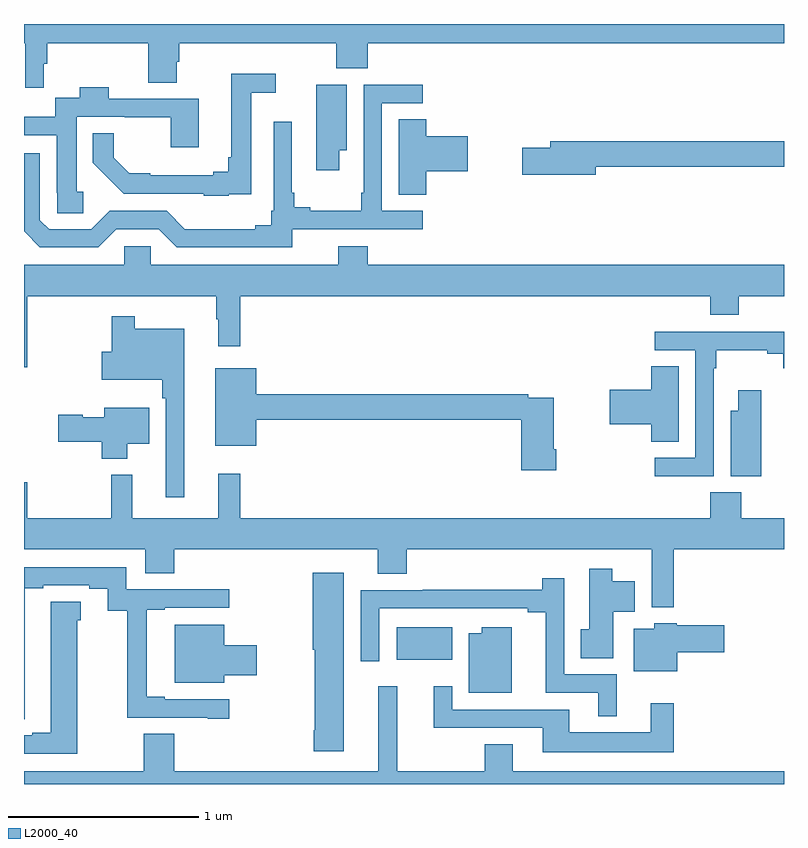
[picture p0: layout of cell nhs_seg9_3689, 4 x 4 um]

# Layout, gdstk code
import gdstk
lib = gdstk.Library(unit=1e-6, precision=1e-09)
def R(c, l, rs):  # rectangles x0, y0, x1, y1
    for r in rs: c.add(gdstk.rectangle(r[:2], r[2:], *l))
def P(c, l, *ps):  # polygons
    for p in ps: c.add(gdstk.Polygon(p, *l))
L2000_40 = (2000, 40)

nhs_seg9_3689 = lib.new_cell('nhs_seg9_3689')
R(nhs_seg9_3689, L2000_40, [(322.961,1213.154,323.254,1213.324)])
P(nhs_seg9_3689, L2000_40, [(321,1216.4),(321.006,1216.4),(321.006,1216.164),(321.103,1216.164),(321.103,1216.29),(321.122,1216.29),(321.122,1216.4),(321.653,1216.4),(321.653,1216.192),(321.805,1216.192),(321.805,1216.302),(321.818,1216.302),(321.818,1216.4),(322.643,1216.4),(322.643,1216.266),(322.808,1216.266),(322.808,1216.4),(325,1216.4),(325,1216.5),(321,1216.5)],
  [(322.077,1215.605),(322.195,1215.605),(322.195,1216.139),(322.324,1216.139),(322.324,1216.237),(322.091,1216.237),(322.091,1215.799),(322.074,1215.799),(322.074,1215.722),(321.995,1215.722),(321.995,1215.703),(321.664,1215.703),(321.664,1215.714),(321.555,1215.714),(321.472,1215.797),(321.472,1215.926),(321.362,1215.926),(321.362,1215.769),(321.446,1215.686),(321.445,1215.685),(321.524,1215.606),(321.945,1215.606),(321.945,1215.596),(322.077,1215.596)],
  [(322.66,1215.836),(322.699,1215.836),(322.699,1216.18),(322.538,1216.18),(322.538,1215.729),(322.66,1215.729)],
  [(321.486,1215.42),(321.708,1215.42),(321.804,1215.324),(322.413,1215.324),(322.413,1215.42),(323.098,1215.42),(323.098,1215.516),(322.884,1215.516),(322.884,1216.083),(323.098,1216.083),(323.098,1216.179),(322.788,1216.179),(322.788,1215.613),(322.776,1215.613),(322.776,1215.518),(322.507,1215.518),(322.507,1215.536),(322.423,1215.536),(322.423,1215.613),(322.41,1215.613),(322.41,1215.985),(322.314,1215.985),(322.314,1215.517),(322.302,1215.517),(322.302,1215.44),(322.217,1215.44),(322.217,1215.421),(321.845,1215.421),(321.75,1215.516),(321.45,1215.516),(321.354,1215.42),(321.132,1215.42),(321.084,1215.468),(321.084,1215.819),(321,1215.819),(321,1215.409),(321.084,1215.324),(321.39,1215.324)],
  [(321.312,1215.616),(321.277,1215.616),(321.277,1216.011),(321.529,1216.011),(321.529,1216.01),(321.772,1216.01),(321.772,1215.852),(321.919,1215.852),(321.919,1216.107),(321.446,1216.107),(321.446,1216.168),(321.293,1216.168),(321.293,1216.111),(321.164,1216.111),(321.164,1216.012),(321,1216.012),(321,1215.915),(321.173,1215.915),(321.173,1215.613),(321.174,1215.613),(321.174,1215.505),(321.312,1215.505)],
  [(323.117,1215.725),(323.335,1215.725),(323.335,1215.908),(323.117,1215.908),(323.117,1215.998),(322.973,1215.998),(322.973,1215.601),(323.117,1215.601)],
  [(324.01,1215.748),(325,1215.748),(325,1215.884),(323.771,1215.884),(323.771,1215.848),(323.622,1215.848),(323.622,1215.706),(324.01,1215.706)],
  [(321.016,1215.068),(322.011,1215.068),(322.011,1214.945),(322.022,1214.945),(322.022,1214.805),(322.139,1214.805),(322.139,1215.068),(324.611,1215.068),(324.611,1214.969),(324.763,1214.969),(324.763,1215.068),(325,1215.068),(325,1215.232),(322.808,1215.232),(322.808,1215.331),(322.655,1215.331),(322.655,1215.232),(321.666,1215.232),(321.666,1215.33),(321.528,1215.33),(321.528,1215.232),(321,1215.232),(321,1214.694),(321.016,1214.694)],
  [(321.844,1214.896),(321.583,1214.896),(321.583,1214.962),(321.462,1214.962),(321.462,1214.775),(321.41,1214.775),(321.41,1214.627),(321.727,1214.627),(321.727,1214.531),(321.747,1214.531),(321.747,1214.01),(321.844,1214.01)],
  [(324.63,1214.687),(324.643,1214.687),(324.643,1214.783),(324.911,1214.783),(324.911,1214.764),(324.996,1214.764),(324.996,1214.687),(325,1214.687),(325,1214.88),(324.321,1214.88),(324.321,1214.784),(324.534,1214.784),(324.534,1214.217),(324.321,1214.217),(324.321,1214.121),(324.63,1214.121)],
  [(324.445,1214.699),(324.302,1214.699),(324.302,1214.576),(324.084,1214.576),(324.084,1214.393),(324.302,1214.393),(324.302,1214.302),(324.445,1214.302)],
  [(323.801,1214.263),(323.788,1214.263),(323.788,1214.532),(323.654,1214.532),(323.654,1214.552),(322.222,1214.552),(322.222,1214.689),(322.007,1214.689),(322.007,1214.279),(322.222,1214.279),(322.222,1214.416),(323.618,1214.416),(323.618,1214.151),(323.801,1214.151)],
  [(324.88,1214.572),(324.758,1214.572),(324.758,1214.464),(324.719,1214.464),(324.719,1214.121),(324.88,1214.121)],
  [(321.544,1214.291),(321.658,1214.291),(321.658,1214.479),(321.422,1214.479),(321.422,1214.431),(321.309,1214.431),(321.309,1214.444),(321.18,1214.444),(321.18,1214.302),(321.41,1214.302),(321.41,1214.213),(321.544,1214.213)],
  [(322.022,1214.134),(322.022,1213.9),(321.569,1213.9),(321.569,1214.128),(321.459,1214.128),(321.459,1213.9),(321.016,1213.9),(321.016,1214.089),(321,1214.089),(321,1213.736),(321.638,1213.736),(321.638,1213.609),(321.791,1213.609),(321.791,1213.736),(322.862,1213.736),(322.862,1213.606),(323.015,1213.606),(323.015,1213.736),(324.303,1213.736),(324.303,1213.43),(324.419,1213.43),(324.419,1213.736),(325,1213.736),(325,1213.9),(324.776,1213.9),(324.776,1214.035),(324.611,1214.035),(324.611,1213.9),(322.139,1213.9),(322.139,1214.134)],
  [(321.003,1212.949),(321.004,1212.949),(321.004,1213.53),(321.1,1213.53),(321.1,1213.545),(321.344,1213.545),(321.344,1213.527),(321.44,1213.527),(321.44,1213.412),(321.544,1213.412),(321.544,1212.849),(321.968,1212.849),(321.968,1212.844),(322.081,1212.844),(322.081,1212.945),(321.742,1212.945),(321.742,1212.958),(321.646,1212.958),(321.646,1213.416),(321.742,1213.416),(321.742,1213.428),(322.081,1213.428),(322.081,1213.524),(321.537,1213.524),(321.537,1213.641),(321,1213.641),(321,1212.841),(321.003,1212.841)],
  [(324.1,1213.406),(324.214,1213.406),(324.214,1213.567),(324.097,1213.567),(324.097,1213.633),(323.975,1213.633),(323.975,1213.314),(323.929,1213.314),(323.929,1213.162),(324.1,1213.162)],
  [(322.684,1213.612),(322.52,1213.612),(322.52,1213.206),(322.531,1213.206),(322.531,1212.784),(322.526,1212.784),(322.526,1212.672),(322.684,1212.672)],
  [(324.121,1213.077),(323.844,1213.077),(323.844,1213.582),(323.728,1213.582),(323.728,1213.523),(323.098,1213.523),(323.098,1213.521),(322.773,1213.521),(322.773,1213.146),(322.869,1213.146),(322.869,1213.425),(323.651,1213.425),(323.651,1213.405),(323.747,1213.405),(323.747,1212.981),(324.023,1212.981),(324.023,1212.857),(324.121,1212.857)],
  [(321.28,1213.362),(321.298,1213.362),(321.298,1213.46),(321.141,1213.46),(321.141,1213.352),(321.14,1213.352),(321.14,1212.771),(321.044,1212.771),(321.044,1212.756),(321,1212.756),(321,1212.66),(321.28,1212.66)],
  [(324.439,1213.193),(324.685,1213.193),(324.685,1213.335),(324.435,1213.335),(324.435,1213.345),(324.318,1213.345),(324.318,1213.318),(324.209,1213.318),(324.209,1213.094),(324.439,1213.094)],
  [(322.054,1213.073),(322.225,1213.073),(322.225,1213.231),(322.054,1213.231),(322.054,1213.339),(321.794,1213.339),(321.794,1213.034),(322.054,1213.034)],
  [(323.566,1213.324),(323.408,1213.324),(323.408,1213.294),(323.342,1213.294),(323.342,1212.98),(323.566,1212.98)],
  [(324.421,1212.925),(324.299,1212.925),(324.299,1212.772),(323.869,1212.772),(323.869,1212.891),(323.253,1212.891),(323.253,1213.015),(323.156,1213.015),(323.156,1212.795),(323.729,1212.795),(323.729,1212.668),(324.421,1212.668)],
  [(325,1212.568),(323.572,1212.568),(323.572,1212.71),(323.425,1212.71),(323.425,1212.568),(322.964,1212.568),(322.964,1213.015),(322.865,1213.015),(322.865,1212.568),(321.791,1212.568),(321.791,1212.764),(321.631,1212.764),(321.631,1212.568),(321,1212.568),(321,1212.5),(325,1212.5)])

lib.write_gds('nhs_seg9_3689.gds')
